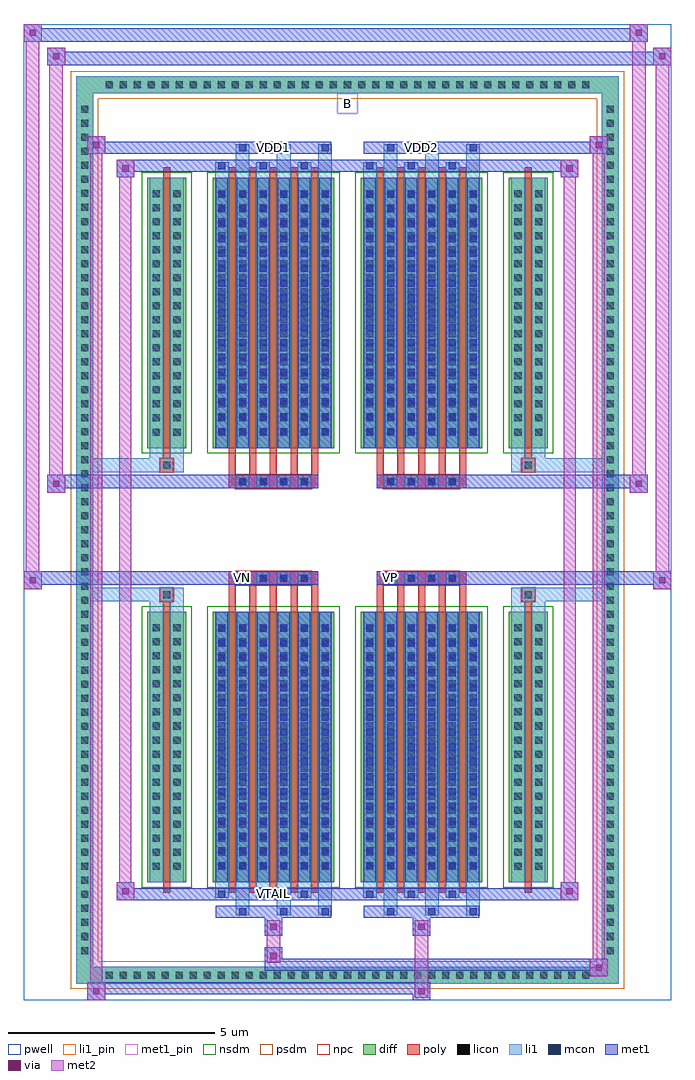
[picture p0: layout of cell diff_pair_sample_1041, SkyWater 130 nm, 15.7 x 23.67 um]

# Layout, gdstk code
import gdstk
lib = gdstk.Library(unit=1e-6, precision=5e-09)
def R(c, l, rs):  # rectangles x0, y0, x1, y1
    for r in rs: c.add(gdstk.rectangle(r[:2], r[2:], *l))
def A(c, l, x, y, w, h, nx, ny, dx, dy):  # array of equal rectangles
    R(c, l, [(x+i*dx, y+j*dy, x+i*dx+w, y+j*dy+h) for i in range(nx) for j in range(ny)])
def P(c, l, *ps):  # polygons
    for p in ps: c.add(gdstk.Polygon(p, *l))
pwell = (64, 44)
diff = (65, 20)
poly = (66, 20)
licon = (66, 44)
li1_pin = (67, 16)
li1 = (67, 20)
mcon = (67, 44)
met1_pin = (68, 16)
met1 = (68, 20)
via = (68, 44)
met2 = (69, 20)
nsdm = (93, 44)
psdm = (94, 20)
npc = (95, 20)

diff_pair_sample_1041 = lib.new_cell('diff_pair_sample_1041')
R(diff_pair_sample_1041, pwell, [(-7.85,-11.4,7.85,12.27), (-5.17,-9.59,-0.01,-0.805), (0.01,-9.59,5.17,-0.805), (-5.17,0.805,-0.01,9.59), (0.01,0.805,5.17,9.59)])
A(diff_pair_sample_1041, diff, -5.985, -11, 0.41, 0.41, 35, 2, 0.34, 21.59)
A(diff_pair_sample_1041, diff, -6.58, -10.405, 0.41, 0.41, 1, 61, 0, 0.34)
A(diff_pair_sample_1041, diff, 6.17, -10.405, 0.41, 0.41, 1, 61, 0, 0.34)
R(diff_pair_sample_1041, diff, [(-5.985,-11,5.985,-10.59), (-6.58,-10.405,-6.17,10.405), (6.17,-10.405,6.58,10.405), (-4.86,-8.545,-3.91,-1.985), (-3.27,-8.545,-0.32,-1.985), (0.32,-8.545,3.27,-1.985), (3.91,-8.545,4.86,-1.985), (-4.86,1.985,-3.91,8.545), (-3.27,1.985,-0.32,8.545), (0.32,1.985,3.27,8.545), (3.91,1.985,4.86,8.545), (-5.985,10.59,5.985,11)])
P(diff_pair_sample_1041, diff, [(6.58,11),(-6.58,11),(-6.58,-10.59),(-6.17,-10.59),(-6.17,10.59),(6.17,10.59),(6.17,-10.59),(-6.17,-10.59),(-6.58,-10.59),(-6.58,-11),(6.58,-11)])
A(diff_pair_sample_1041, poly, -2.88, -8.795, 0.17, 7.06, 5, 2, 0.5, 10.53)
A(diff_pair_sample_1041, poly, 0.71, -8.795, 0.17, 7.06, 5, 2, 0.5, 10.53)
A(diff_pair_sample_1041, poly, -2.88, -1.735, 0.17, 0.4, 5, 2, 0.5, 3.07)
A(diff_pair_sample_1041, poly, 0.71, -1.735, 0.17, 0.4, 5, 2, 0.5, 3.07)
A(diff_pair_sample_1041, poly, -2.71, -1.335, 0.33, 0.33, 4, 2, 0.5, 2.34)
A(diff_pair_sample_1041, poly, 0.88, -1.335, 0.33, 0.33, 4, 2, 0.5, 2.34)
R(diff_pair_sample_1041, poly, [(-4.47,-8.795,-4.3,-1.735), (4.3,-8.795,4.47,-1.735), (-4.55,-1.735,-4.22,-1.405), (-4.55,-1.735,-4.22,-1.405), (4.22,-1.735,4.55,-1.405), (4.22,-1.735,4.55,-1.405), (-2.88,-1.335,-0.71,-1.005), (0.71,-1.335,2.88,-1.005), (-2.88,1.005,-0.71,1.335), (0.71,1.005,2.88,1.335), (-4.55,1.405,-4.22,1.735), (-4.55,1.405,-4.22,1.735), (4.22,1.405,4.55,1.735), (4.22,1.405,4.55,1.735), (-4.47,1.735,-4.3,8.795), (4.3,1.735,4.47,8.795)])
A(diff_pair_sample_1041, licon, -5.865, -10.88, 0.17, 0.17, 35, 2, 0.34, 21.59)
A(diff_pair_sample_1041, licon, -6.46, -10.285, 0.17, 0.17, 1, 61, 0, 0.34)
A(diff_pair_sample_1041, licon, 6.29, -10.285, 0.17, 0.17, 1, 61, 0, 0.34)
A(diff_pair_sample_1041, licon, -4.72, -8.24, 0.17, 0.17, 1, 18, 0, 0.34)
A(diff_pair_sample_1041, licon, -4.22, -8.24, 0.17, 0.17, 1, 18, 0, 0.34)
A(diff_pair_sample_1041, licon, -3.13, -8.24, 0.17, 0.17, 6, 18, 0.5, 0.34)
A(diff_pair_sample_1041, licon, 0.46, -8.24, 0.17, 0.17, 6, 18, 0.5, 0.34)
A(diff_pair_sample_1041, licon, 4.05, -8.24, 0.17, 0.17, 1, 18, 0, 0.34)
A(diff_pair_sample_1041, licon, 4.55, -8.24, 0.17, 0.17, 1, 18, 0, 0.34)
A(diff_pair_sample_1041, licon, -2.63, -1.255, 0.17, 0.17, 4, 2, 0.5, 2.34)
A(diff_pair_sample_1041, licon, 0.96, -1.255, 0.17, 0.17, 4, 2, 0.5, 2.34)
A(diff_pair_sample_1041, licon, -4.72, 2.29, 0.17, 0.17, 1, 18, 0, 0.34)
A(diff_pair_sample_1041, licon, -4.22, 2.29, 0.17, 0.17, 1, 18, 0, 0.34)
A(diff_pair_sample_1041, licon, -3.13, 2.29, 0.17, 0.17, 6, 18, 0.5, 0.34)
A(diff_pair_sample_1041, licon, 0.46, 2.29, 0.17, 0.17, 6, 18, 0.5, 0.34)
A(diff_pair_sample_1041, licon, 4.05, 2.29, 0.17, 0.17, 1, 18, 0, 0.34)
A(diff_pair_sample_1041, licon, 4.55, 2.29, 0.17, 0.17, 1, 18, 0, 0.34)
R(diff_pair_sample_1041, licon, [(-4.47,-1.655,-4.3,-1.485), (4.3,-1.655,4.47,-1.485), (-4.47,1.485,-4.3,1.655), (4.3,1.485,4.47,1.655)])
R(diff_pair_sample_1041, li1_pin, [(-0.25,10.09,0.25,10.59)])
A(diff_pair_sample_1041, li1, -5.945, -10.96, 0.33, 0.33, 35, 2, 0.34, 21.59)
A(diff_pair_sample_1041, li1, -6.54, -10.365, 0.33, 0.33, 1, 61, 0, 0.34)
A(diff_pair_sample_1041, li1, 6.21, -10.365, 0.33, 0.33, 1, 61, 0, 0.34)
A(diff_pair_sample_1041, li1, -2.71, -9.35, 0.33, 0.805, 3, 2, 1, 17.895)
A(diff_pair_sample_1041, li1, -2.63, -9.35, 0.17, 0.17, 3, 2, 1, 18.53)
A(diff_pair_sample_1041, li1, 0.88, -9.35, 0.33, 0.805, 3, 2, 1, 17.895)
A(diff_pair_sample_1041, li1, 0.96, -9.35, 0.17, 0.17, 3, 2, 1, 18.53)
A(diff_pair_sample_1041, li1, -3.21, -8.92, 0.33, 0.375, 3, 2, 1, 17.465)
A(diff_pair_sample_1041, li1, -3.13, -8.92, 0.17, 0.17, 3, 2, 1, 17.67)
A(diff_pair_sample_1041, li1, 0.38, -8.92, 0.33, 0.375, 3, 2, 1, 17.465)
A(diff_pair_sample_1041, li1, 0.46, -8.92, 0.17, 0.17, 3, 2, 1, 17.67)
A(diff_pair_sample_1041, li1, -3.21, -8.545, 0.33, 6.56, 6, 2, 0.5, 10.53)
A(diff_pair_sample_1041, li1, 0.38, -8.545, 0.33, 6.56, 6, 2, 0.5, 10.53)
A(diff_pair_sample_1041, li1, -4.8, -8.32, 0.33, 0.33, 1, 18, 0, 0.34)
A(diff_pair_sample_1041, li1, -4.3, -8.32, 0.33, 0.33, 1, 18, 0, 0.34)
A(diff_pair_sample_1041, li1, -3.21, -8.32, 0.33, 0.33, 6, 18, 0.5, 0.34)
A(diff_pair_sample_1041, li1, 0.38, -8.32, 0.33, 0.33, 6, 18, 0.5, 0.34)
A(diff_pair_sample_1041, li1, 3.97, -8.32, 0.33, 0.33, 1, 18, 0, 0.34)
A(diff_pair_sample_1041, li1, 4.47, -8.32, 0.33, 0.33, 1, 18, 0, 0.34)
A(diff_pair_sample_1041, li1, -3.13, -8.23, 0.17, 0.17, 6, 17, 0.5, 0.36)
A(diff_pair_sample_1041, li1, -3.13, -8.23, 0.17, 5.93, 6, 2, 0.5, 10.53)
A(diff_pair_sample_1041, li1, 0.46, -8.23, 0.17, 0.17, 6, 17, 0.5, 0.36)
A(diff_pair_sample_1041, li1, 0.46, -8.23, 0.17, 5.93, 6, 2, 0.5, 10.53)
A(diff_pair_sample_1041, li1, -2.71, -1.335, 0.33, 0.33, 4, 2, 0.5, 2.34)
A(diff_pair_sample_1041, li1, 0.88, -1.335, 0.33, 0.33, 4, 2, 0.5, 2.34)
A(diff_pair_sample_1041, li1, -4.8, 2.21, 0.33, 0.33, 1, 18, 0, 0.34)
A(diff_pair_sample_1041, li1, -4.3, 2.21, 0.33, 0.33, 1, 18, 0, 0.34)
A(diff_pair_sample_1041, li1, -3.21, 2.21, 0.33, 0.33, 6, 18, 0.5, 0.34)
A(diff_pair_sample_1041, li1, 0.38, 2.21, 0.33, 0.33, 6, 18, 0.5, 0.34)
A(diff_pair_sample_1041, li1, 3.97, 2.21, 0.33, 0.33, 1, 18, 0, 0.34)
A(diff_pair_sample_1041, li1, 4.47, 2.21, 0.33, 0.33, 1, 18, 0, 0.34)
A(diff_pair_sample_1041, li1, -3.13, 2.3, 0.17, 0.17, 6, 17, 0.5, 0.36)
A(diff_pair_sample_1041, li1, 0.46, 2.3, 0.17, 0.17, 6, 17, 0.5, 0.36)
R(diff_pair_sample_1041, li1, [(-6.58,-11,-6.17,-10.59), (-6.58,-11,-6.17,-10.59), (-6.17,-11,6.17,-10.59), (6.17,-11,6.58,-10.59), (6.17,-11,6.58,-10.59), (-6.58,-10.59,-6.17,10.59), (6.17,-10.59,6.58,10.59), (-4.8,-8.545,-4.47,-1.985), (-4.3,-8.545,-3.97,-1.985), (3.97,-8.545,4.3,-1.985), (4.47,-8.545,4.8,-1.985), (-4.8,-1.985,-4.47,-1.405), (-4.3,-1.985,-3.97,-1.405), (3.97,-1.985,4.3,-1.405), (4.47,-1.985,4.8,-1.405), (-6.58,-1.735,-4.55,-1.405), (-4.8,-1.735,-4.55,-1.405), (-4.55,-1.735,-4.22,-1.405), (-4.22,-1.735,-3.97,-1.405), (3.97,-1.735,4.22,-1.405), (4.22,-1.735,4.55,-1.405), (4.22,-1.735,6.58,-1.405), (4.55,-1.735,4.8,-1.405), (-6.58,1.405,-4.55,1.735), (-4.8,1.405,-4.55,1.735), (-4.8,1.405,-4.47,1.985), (-4.55,1.405,-4.22,1.735), (-4.3,1.405,-3.97,1.985), (-4.22,1.405,-3.97,1.735), (3.97,1.405,4.22,1.735), (3.97,1.405,4.3,1.985), (4.22,1.405,4.55,1.735), (4.22,1.405,6.58,1.735), (4.47,1.405,4.8,1.985), (4.55,1.405,4.8,1.735), (-4.8,1.985,-4.47,8.545), (-4.3,1.985,-3.97,8.545), (3.97,1.985,4.3,8.545), (4.47,1.985,4.8,8.545), (-6.58,10.59,-6.17,11), (-6.58,10.59,-6.17,11), (-6.17,10.59,6.17,11), (6.17,10.59,6.58,11), (6.17,10.59,6.58,11)])
A(diff_pair_sample_1041, mcon, -2.63, -9.35, 0.17, 0.17, 3, 2, 1, 18.53)
A(diff_pair_sample_1041, mcon, 0.96, -9.35, 0.17, 0.17, 3, 2, 1, 18.53)
A(diff_pair_sample_1041, mcon, -3.13, -8.92, 0.17, 0.17, 3, 2, 1, 17.67)
A(diff_pair_sample_1041, mcon, 0.46, -8.92, 0.17, 0.17, 3, 2, 1, 17.67)
A(diff_pair_sample_1041, mcon, -3.13, -8.23, 0.17, 0.17, 6, 17, 0.5, 0.36)
A(diff_pair_sample_1041, mcon, 0.46, -8.23, 0.17, 0.17, 6, 17, 0.5, 0.36)
A(diff_pair_sample_1041, mcon, -2.63, -1.255, 0.17, 0.17, 4, 2, 0.5, 2.34)
A(diff_pair_sample_1041, mcon, 0.96, -1.255, 0.17, 0.17, 4, 2, 0.5, 2.34)
A(diff_pair_sample_1041, mcon, -3.13, 2.3, 0.17, 0.17, 6, 17, 0.5, 0.36)
A(diff_pair_sample_1041, mcon, 0.46, 2.3, 0.17, 0.17, 6, 17, 0.5, 0.36)
R(diff_pair_sample_1041, met1_pin, [(-1.93,-8.96,-1.66,-8.69), (-2.68,-1.295,-2.41,-1.025), (0.91,-1.295,1.18,-1.025), (-1.93,9.14,-1.66,9.41), (1.66,9.14,1.93,9.41)])
A(diff_pair_sample_1041, met1, -2.69, -9.41, 0.29, 0.29, 3, 2, 1, 18.53)
A(diff_pair_sample_1041, met1, 0.9, -9.41, 0.29, 0.29, 3, 2, 1, 18.53)
A(diff_pair_sample_1041, met1, -3.19, -8.98, 0.29, 0.29, 3, 2, 1, 17.67)
A(diff_pair_sample_1041, met1, 0.4, -8.98, 0.29, 0.29, 3, 2, 1, 17.67)
A(diff_pair_sample_1041, met1, -3.19, -8.545, 0.29, 6.56, 6, 2, 0.5, 10.53)
A(diff_pair_sample_1041, met1, 0.4, -8.545, 0.29, 6.56, 6, 2, 0.5, 10.53)
A(diff_pair_sample_1041, met1, -3.19, -8.29, 0.29, 0.29, 6, 17, 0.5, 0.36)
A(diff_pair_sample_1041, met1, 0.4, -8.29, 0.29, 0.29, 6, 17, 0.5, 0.36)
A(diff_pair_sample_1041, met1, -2.69, -1.315, 0.29, 0.29, 4, 2, 0.5, 2.34)
A(diff_pair_sample_1041, met1, 0.9, -1.315, 0.29, 0.29, 4, 2, 0.5, 2.34)
A(diff_pair_sample_1041, met1, -3.19, 2.24, 0.29, 0.29, 6, 17, 0.5, 0.36)
A(diff_pair_sample_1041, met1, 0.4, 2.24, 0.29, 0.29, 6, 17, 0.5, 0.36)
R(diff_pair_sample_1041, met1, [(-6.31,-11.4,-5.88,-10.97), (1.58,-11.4,2.01,-10.97), (-6.31,-11.26,2.01,-10.97), (5.88,-10.83,6.31,-10.4), (-2.01,-10.69,6.31,-10.4), (-2.01,-10.55,-1.58,-10.12), (-2.01,-9.84,-1.58,-9.41), (1.58,-9.84,2.01,-9.41), (-3.19,-9.41,-0.4,-9.12), (0.4,-9.41,3.19,-9.12), (-5.6,-8.98,-5.17,-8.55), (-5.6,-8.98,-3.19,-8.69), (-3.19,-8.98,-0.4,-8.69), (-0.4,-8.98,0.4,-8.69), (0.4,-8.98,3.19,-8.69), (3.19,-8.98,5.6,-8.69), (5.17,-8.98,5.6,-8.55), (-7.85,-1.435,-7.42,-1.005), (7.42,-1.435,7.85,-1.005), (-7.85,-1.335,-0.71,-1.005), (-2.88,-1.335,-0.71,-1.005), (0.71,-1.335,2.88,-1.005), (0.71,-1.335,7.85,-1.005), (-7.28,0.905,-6.85,1.335), (6.85,0.905,7.28,1.335), (-7.28,1.005,-2.88,1.335), (-2.88,1.005,-0.71,1.335), (0.71,1.005,2.88,1.335), (2.88,1.005,7.28,1.335), (-5.6,8.55,-5.17,8.98), (5.17,8.55,5.6,8.98), (-5.6,8.69,-3.19,8.98), (-3.19,8.69,-0.4,8.98), (-0.4,8.69,0.4,8.98), (0.4,8.69,3.19,8.98), (3.19,8.69,5.6,8.98), (-6.31,9.12,-5.88,9.55), (-6.31,9.12,-3.19,9.41), (-3.19,9.12,-0.4,9.41), (0.4,9.12,3.19,9.41), (3.19,9.12,6.31,9.41), (5.88,9.12,6.31,9.55), (-7.28,11.27,-6.85,11.7), (-7.28,11.27,-5.17,11.6), (-5.17,11.27,5.17,11.6), (5.17,11.27,7.85,11.6), (7.42,11.27,7.85,11.7), (-7.85,11.84,-7.42,12.27), (-7.85,11.84,-5.17,12.17), (-5.17,11.84,5.17,12.17), (5.17,11.84,7.28,12.17), (6.85,11.84,7.28,12.27)])
R(diff_pair_sample_1041, via, [(-6.17,-11.26,-6.02,-11.11), (1.72,-11.26,1.87,-11.11), (6.02,-10.69,6.17,-10.54), (-1.87,-10.41,-1.72,-10.26), (-1.87,-9.7,-1.72,-9.55), (1.72,-9.7,1.87,-9.55), (-5.46,-8.84,-5.31,-8.69), (5.31,-8.84,5.46,-8.69), (-7.71,-1.295,-7.56,-1.145), (7.56,-1.295,7.71,-1.145), (-7.14,1.045,-6.99,1.195), (6.99,1.045,7.14,1.195), (-5.46,8.69,-5.31,8.84), (5.31,8.69,5.46,8.84), (-6.17,9.26,-6.02,9.41), (6.02,9.26,6.17,9.41), (-7.14,11.41,-6.99,11.56), (7.56,11.41,7.71,11.56), (-7.71,11.98,-7.56,12.13), (6.99,11.98,7.14,12.13)])
R(diff_pair_sample_1041, met2, [(-6.31,-11.4,-5.88,-10.97), (-6.24,-11.4,-5.95,9.55), (-5.95,-11.4,-5.88,-10.97), (-6.26,-11.35,-5.93,-11.02), (1.63,-11.35,1.96,-11.02), (1.63,-11.02,1.96,-9.79), (5.88,-10.83,6.31,-10.4), (5.95,-10.83,6.24,9.55), (6.24,-10.83,6.31,-10.4), (5.93,-10.78,6.26,-10.45), (-1.96,-10.5,-1.63,-10.17), (-1.96,-10.17,-1.63,-9.79), (-1.96,-9.79,-1.63,-9.46), (1.63,-9.79,1.96,-9.46), (-5.6,-8.98,-5.17,-8.55), (-5.53,-8.98,-5.24,8.98), (-5.24,-8.98,-5.17,-8.55), (5.17,-8.98,5.6,-8.55), (5.24,-8.98,5.53,8.98), (5.53,-8.98,5.6,-8.55), (-5.55,-8.93,-5.22,-8.6), (5.22,-8.93,5.55,-8.6), (-7.85,-1.435,-7.42,-1.005), (-7.8,-1.435,-7.47,12.27), (-7.47,-1.435,-7.42,-1.005), (7.42,-1.435,7.85,-1.005), (7.47,-1.435,7.8,11.7), (7.8,-1.435,7.85,-1.005), (-7.8,-1.385,-7.47,-1.055), (7.47,-1.385,7.8,-1.055), (-7.28,0.905,-6.85,1.335), (-7.23,0.905,-6.9,11.7), (-6.9,0.905,-6.85,1.335), (6.85,0.905,7.28,1.335), (6.9,0.905,7.23,12.27), (7.23,0.905,7.28,1.335), (-7.23,0.955,-6.9,1.285), (6.9,0.955,7.23,1.285), (-5.6,8.55,-5.17,8.98), (-5.24,8.55,-5.17,8.98), (5.17,8.55,5.6,8.98), (5.53,8.55,5.6,8.98), (-5.55,8.6,-5.22,8.93), (5.22,8.6,5.55,8.93), (-6.31,9.12,-5.88,9.55), (-5.95,9.12,-5.88,9.55), (5.88,9.12,6.31,9.55), (6.24,9.12,6.31,9.55), (-6.26,9.17,-5.93,9.5), (5.93,9.17,6.26,9.5), (-7.28,11.27,-6.85,11.7), (-6.9,11.27,-6.85,11.7), (7.42,11.27,7.85,11.7), (7.8,11.27,7.85,11.7), (-7.23,11.32,-6.9,11.65), (7.47,11.32,7.8,11.65), (-7.85,11.84,-7.42,12.27), (-7.47,11.84,-7.42,12.27), (6.85,11.84,7.28,12.27), (7.23,11.84,7.28,12.27), (-7.8,11.89,-7.47,12.22), (6.9,11.89,7.23,12.22)])
R(diff_pair_sample_1041, nsdm, [(-4.99,-8.675,-3.78,-1.855), (-3.4,-8.675,-0.19,-1.855), (0.19,-8.675,3.4,-1.855), (3.78,-8.675,4.99,-1.855), (-4.99,1.855,-3.78,8.675), (-3.4,1.855,-0.19,8.675), (0.19,1.855,3.4,8.675), (3.78,1.855,4.99,8.675)])
P(diff_pair_sample_1041, psdm, [(6.71,11.13),(-6.71,11.13),(-6.71,-10.46),(-6.04,-10.46),(-6.04,10.46),(6.04,10.46),(6.04,-10.46),(-6.04,-10.46),(-6.71,-10.46),(-6.71,-11.13),(6.71,-11.13)])
A(diff_pair_sample_1041, npc, -2.73, -1.355, 0.37, 0.37, 4, 2, 0.5, 2.34)
A(diff_pair_sample_1041, npc, 0.86, -1.355, 0.37, 0.37, 4, 2, 0.5, 2.34)
R(diff_pair_sample_1041, npc, [(-4.57,-1.755,-4.2,-1.385), (4.2,-1.755,4.57,-1.385), (-2.73,-1.355,-1.86,-0.985), (-2.73,-1.355,-1.86,-0.985), (-2.23,-1.355,-1.36,-0.985), (-2.23,-1.355,-1.36,-0.985), (-1.73,-1.355,-0.86,-0.985), (-1.73,-1.355,-0.86,-0.985), (0.86,-1.355,1.73,-0.985), (0.86,-1.355,1.73,-0.985), (1.36,-1.355,2.23,-0.985), (1.36,-1.355,2.23,-0.985), (1.86,-1.355,2.73,-0.985), (1.86,-1.355,2.73,-0.985), (-2.73,0.985,-1.86,1.355), (-2.73,0.985,-1.86,1.355), (-2.23,0.985,-1.36,1.355), (-2.23,0.985,-1.36,1.355), (-1.73,0.985,-0.86,1.355), (-1.73,0.985,-0.86,1.355), (0.86,0.985,1.73,1.355), (0.86,0.985,1.73,1.355), (1.36,0.985,2.23,1.355), (1.36,0.985,2.23,1.355), (1.86,0.985,2.73,1.355), (1.86,0.985,2.73,1.355), (-4.57,1.385,-4.2,1.755), (4.2,1.385,4.57,1.755)])
diff_pair_sample_1041.add(gdstk.Label('VTAIL', (-1.795,-8.825), layer=68, texttype=5))
diff_pair_sample_1041.add(gdstk.Label('VN', (-2.545,-1.16), layer=68, texttype=5))
diff_pair_sample_1041.add(gdstk.Label('VP', (1.045,-1.16), layer=68, texttype=5))
diff_pair_sample_1041.add(gdstk.Label('B', (0,10.34), layer=67, texttype=5))
diff_pair_sample_1041.add(gdstk.Label('VDD2', (1.795,9.275), layer=68, texttype=5))
diff_pair_sample_1041.add(gdstk.Label('VDD1', (-1.795,9.275), layer=68, texttype=5))

lib.write_gds('diff_pair_sample_1041.gds')
